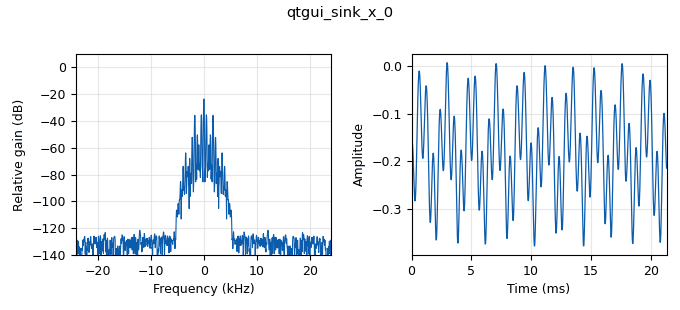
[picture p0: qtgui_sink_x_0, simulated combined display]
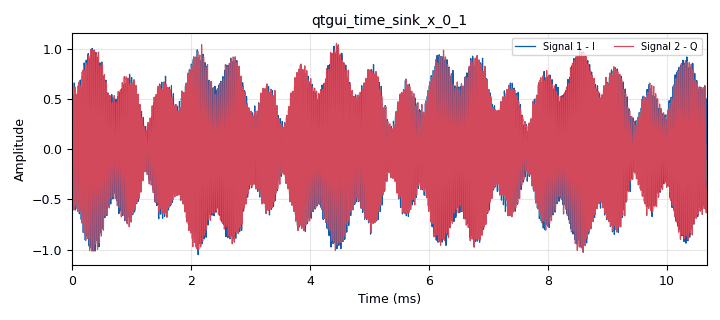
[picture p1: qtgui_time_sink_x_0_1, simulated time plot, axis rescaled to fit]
options:
  parameters:
    generate_options: qt_gui
    id: ex2_01
    output_language: python
    title: Figure 2.3 AM Demod
  states: {}

blocks:
- name: D
  id: variable
  parameters:
    comment: |-
      Decimation
      factor
    value: '8'
  states: {}
- name: samp_rate
  id: variable
  parameters:
    value: 48000*D
  states: {}
- name: analog_am_demod_cf_0
  id: analog_am_demod_cf
  parameters:
    audio_decim: D
    audio_pass: '2000'
    audio_stop: '5500'
    chan_rate: samp_rate
  states: {}
- name: analog_noise_source_x_0
  id: analog_noise_source_x
  parameters:
    amp: '.05'
    noise_type: analog.GR_GAUSSIAN
    seed: '0'
    type: complex
  states: {}
- name: analog_sig_source_x_0
  id: analog_sig_source_x
  parameters:
    amp: '.4'
    comment: signal1
    freq: '1710'
    offset: '.6'
    phase: '0'
    samp_rate: samp_rate
    type: complex
    waveform: analog.GR_COS_WAVE
  states: {}
- name: analog_sig_source_x_0_1
  id: analog_sig_source_x
  parameters:
    amp: '.4'
    comment: signal2
    freq: '480'
    offset: '.6'
    phase: '0'
    samp_rate: samp_rate
    type: complex
    waveform: analog.GR_COS_WAVE
  states: {}
- name: analog_sig_source_x_0_1_0
  id: analog_sig_source_x
  parameters:
    amp: '1'
    comment: carrier
    freq: '30000'
    offset: '0'
    phase: '0'
    samp_rate: samp_rate
    type: complex
    waveform: analog.GR_COS_WAVE
  states: {}
- name: audio_sink_0
  id: audio_sink
  parameters:
    samp_rate: int(samp_rate/D)
  states: {}
- name: blocks_add_xx_0
  id: blocks_add_xx
  parameters:
    num_inputs: '3'
    type: complex
  states: {}
- name: blocks_multiply_const_vxx_0
  id: blocks_multiply_const_vxx
  parameters:
    const: '.5'
    type: complex
  states: {}
- name: blocks_multiply_const_vxx_0_0
  id: blocks_multiply_const_vxx
  parameters:
    const: '.5'
    type: complex
  states: {}
- name: blocks_multiply_xx_0
  id: blocks_multiply_xx
  parameters:
    comment: AM
    type: complex
  states: {}
- name: blocks_multiply_xx_0_0
  id: blocks_multiply_xx
  parameters:
    comment: AM
    type: complex
  states: {}
- name: blocks_throttle2_0
  id: blocks_throttle2
  parameters:
    samples_per_second: samp_rate
    type: complex
  states: {}
- name: qtgui_sink_x_0
  id: qtgui_sink_x
  parameters:
    bw: samp_rate/D
    fc: '0'
    fftsize: '1024'
    type: float
  states: {}
- name: qtgui_time_sink_x_0_1
  id: qtgui_time_sink_x
  parameters:
    label1: Signal 1 - I
    label2: Signal 2 - Q
    size: 1024*4
    srate: samp_rate
    type: complex
  states: {}

connections:
- [analog_am_demod_cf_0, '0', audio_sink_0, '0']
- [analog_am_demod_cf_0, '0', qtgui_sink_x_0, '0']
- [analog_noise_source_x_0, '0', blocks_add_xx_0, '1']
- [analog_sig_source_x_0, '0', blocks_multiply_xx_0, '0']
- [analog_sig_source_x_0_1, '0', blocks_multiply_xx_0_0, '1']
- [analog_sig_source_x_0_1_0, '0', blocks_multiply_xx_0, '1']
- [analog_sig_source_x_0_1_0, '0', blocks_multiply_xx_0_0, '0']
- [blocks_add_xx_0, '0', blocks_throttle2_0, '0']
- [blocks_add_xx_0, '0', qtgui_time_sink_x_0_1, '0']
- [blocks_multiply_const_vxx_0, '0', blocks_add_xx_0, '2']
- [blocks_multiply_const_vxx_0_0, '0', blocks_add_xx_0, '0']
- [blocks_multiply_xx_0, '0', blocks_multiply_const_vxx_0_0, '0']
- [blocks_multiply_xx_0_0, '0', blocks_multiply_const_vxx_0, '0']
- [blocks_throttle2_0, '0', analog_am_demod_cf_0, '0']

metadata:
  file_format: 1
  grc_version: 3.10.9.2
